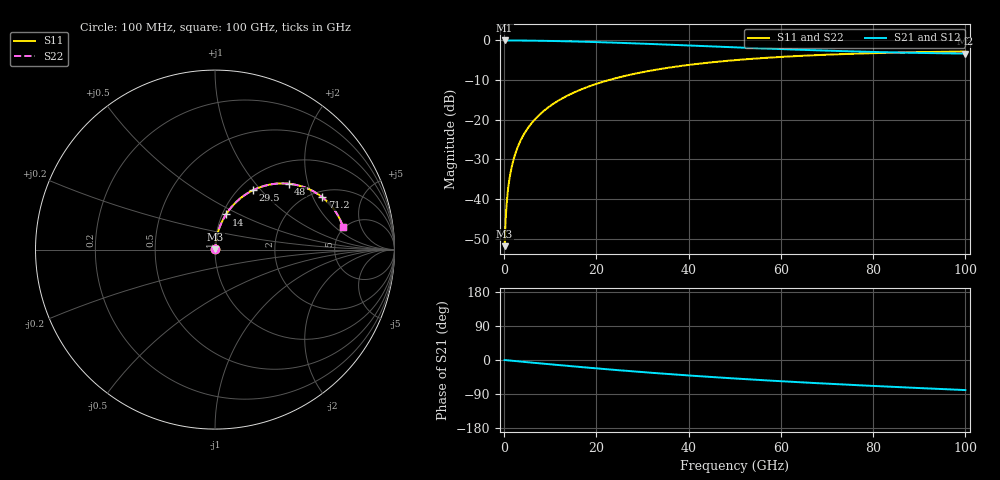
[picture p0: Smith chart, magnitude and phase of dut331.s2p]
! Touchstone file exported from HFSS 2026.1.0
!  File:  C:/ffzhzh/LocalFiles/Ansys_Project_Files/temp_train_RDL_331_1783502895_55944.aedt
!  Generated:  05:29:28 PM Jul  8, 2026
!  Design:  RDL
!  Project:  temp_train_RDL_331_1783502895_55944
! Variables:
!  h_bsmrdl = 2um
!  h_ox = 20um
!  h_rdl = 5um
!  h_sub = 80um
!  h_tmrdl = 3.83um
!  h_tsv = 80um
!  h_via = 3um
!  l_bsmrdl = 300um
!  l_sub = 629.36um
!  l_tmrdl = 229.36um
!  m_sub = 200um
!  pitch = 52.85um
!  r_tsv = 6um
!  s_tmrdl = 10um
!  w_bsmrdl = 18um
!  w_sub = 500um
!  w_tmrdl = 11.24um
!  x_tsv_center1 = 234.98um
!  x_tsv_center2 = 552.98um
!  x_tsv_center3 = 793.58um
!  x_tsv_center4 = 1111.58um
!  x_tsv_center5 = 1352.18um
!  x_tsv_center6 = 1670.18um
# GHz S MA R 50.000000
! Terminal data exported
! Port[1] = TM_RDL1_1_T1
! Port[2] = TM_RDL1_1_T2
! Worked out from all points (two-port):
!   1000 points, 100 MHz to 100 GHz, reference 50 ohm
!   highest |S21| = -0.02 dB at 100 MHz (marker M1); lowest = -3.3 dB at 100 GHz (marker M2)
!   |S21| within 3 dB of the highest: start of sweep to 83.85 GHz
!   lowest |S11| = -51.9 dB at 100 MHz (marker M3), VSWR 1.01, Z = 50.2 + j0.159 ohm
!   |S11| at or under -10 dB: start of sweep to 22.69 GHz
!   |S22| runs from -51.9 to -2.8 dB; largest |S21 - S12| = 2.5e-15
!   S11 on the Smith chart (normalised r, x): 100 MHz: 1.00, +0.00; 14 GHz: 1.04, +0.43; 29.5 GHz: 1.16, +0.90; 48 GHz: 1.44, +1.52; 71.2 GHz: 2.25, +2.36; 100 GHz: 4.81, +2.58
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0.1  0.002552 38.4  0.998 -0.1  0.998 -0.1  0.002552 38.4
! Gamma 0 0 0 0
! Port Impedance 50 0 50 0
0.4  0.00663 71.2  0.9979 -0.5  0.9979 -0.5  0.00663 71.2
0.8  0.01265 79.0  0.9977 -0.9  0.9977 -0.9  0.01265 79.0
1  0.01568 80.6  0.9976 -1.2  0.9976 -1.2  0.01568 80.6
1.3  0.02024 82.0  0.9975 -1.5  0.9975 -1.5  0.02024 82.0
1.7  0.02634 82.9  0.9973 -2.0  0.9973 -2.0  0.02634 82.9
2.2  0.03396 83.3  0.997 -2.6  0.997 -2.6  0.03396 83.3
3.5  0.05372 83.0  0.9958 -4.1  0.9958 -4.1  0.05372 83.0
5.3  0.0808 81.6  0.9935 -6.1  0.9935 -6.1  0.0808 81.6
7.6  0.1148 79.3  0.9894 -8.7  0.9894 -8.7  0.1148 79.3
10.5  0.1565 76.3  0.9828 -11.9  0.9828 -11.9  0.1565 76.3
14  0.205 72.6  0.973 -15.7  0.973 -15.7  0.205 72.6
16.8  0.2424 69.8  0.9639 -18.7  0.9639 -18.7  0.2424 69.8
22.6  0.3151 64.0  0.9419 -24.7  0.9419 -24.7  0.3151 64.0
29.5  0.3925 57.4  0.9119 -31.5  0.9119 -31.5  0.3925 57.4
33.4  0.4317 53.9  0.8939 -35.1  0.8939 -35.1  0.4317 53.9
48  0.5504 41.8  0.8264 -47.3  0.8264 -47.3  0.5504 41.8
50.1  0.5641 40.3  0.8172 -48.9  0.8172 -48.9  0.5641 40.3
66.7  0.6482 28.9  0.7531 -60.4  0.7531 -60.4  0.6482 28.9
71.2  0.6647 26.1  0.7388 -63.2  0.7388 -63.2  0.6646 26.1
83.4  0.6985 19.0  0.7075 -70.4  0.7075 -70.4  0.6985 19.1
100  0.724 10.2  0.6819 -79.4  0.6819 -79.4  0.7239 10.2
